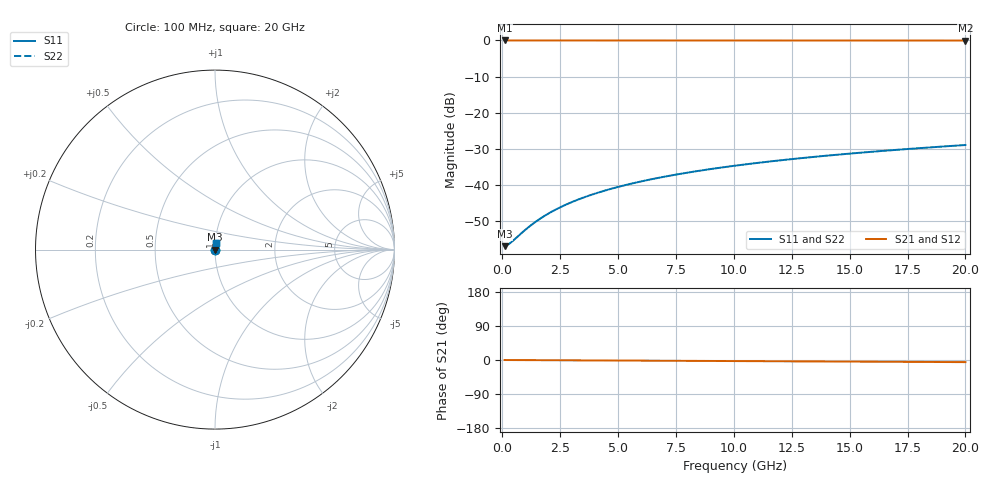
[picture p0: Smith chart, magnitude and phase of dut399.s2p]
! Touchstone file exported from HFSS 2026.1.0
!  File:  C:/ffzhzh/LocalFiles/Ansys_Project_Files/temp_train_TSV_399_1783020278_46388.aedt
!  Generated:  03:27:02 AM Jul  3, 2026
!  Design:  TSV
!  Project:  temp_train_TSV_399_1783020278_46388
! Variables:
!  h_bsmrdl = 2um
!  h_ox = 20um
!  h_rdl = 5um
!  h_sub = 54.93um
!  h_tmrdl = 5um
!  h_tsv = 54.93um
!  h_via = 3um
!  l_bsmrdl = 300um
!  l_sub = 404.24um
!  l_tmrdl = 200um
!  m_sub = 200um
!  pitch = 15.1um
!  r_tsv = 2.12um
!  s_tmrdl = 10um
!  w_bsmrdl = 18um
!  w_sub = 500um
!  w_tmrdl = 12um
!  x_tsv_center1 = 206um
!  x_tsv_center2 = 524um
!  x_tsv_center3 = 736um
!  x_tsv_center4 = 1054um
!  x_tsv_center5 = 1266um
!  x_tsv_center6 = 1584um
# GHz S MA R 50.000000
! Terminal data exported
! Port[1] = TSV1_1_T1
! Port[2] = TSV1_1_T2
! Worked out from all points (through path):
!   200 points, 100 MHz to 20 GHz, reference 50 ohm
!   highest |S21| = -0.01 dB at 100 MHz (marker M1); lowest = 0.0 dB at 20 GHz (marker M2)
!   lowest |S11| = -56.8 dB at 100 MHz (marker M3), VSWR 1.00, Z = 50.1 + j0.0199 ohm
!   |S11| at or under -10 dB: start of sweep to end of sweep
!   |S22| runs from -56.8 to -28.9 dB; largest |S21 - S12| = 2e-15
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0.1  0.001442 7.9  0.9986 -0.0  0.9986 -0.0  0.001442 7.9
! Gamma 0 0 0 0
! Port Impedance 50 0 50 0
0.2  0.001487 15.4  0.9986 -0.1  0.9986 -0.1  0.001487 15.4
0.3  0.001556 22.3  0.9986 -0.1  0.9986 -0.1  0.001556 22.3
0.4  0.001647 28.5  0.9986 -0.1  0.9986 -0.1  0.001647 28.5
0.9  0.002286 49.2  0.9985 -0.3  0.9985 -0.3  0.002286 49.2
1.2  0.002745 56.4  0.9985 -0.3  0.9985 -0.3  0.002745 56.4
1.5  0.003232 61.5  0.9985 -0.4  0.9985 -0.4  0.003232 61.5
1.8  0.003737 65.2  0.9985 -0.5  0.9985 -0.5  0.003737 65.2
2.2  0.00443 68.8  0.9984 -0.6  0.9984 -0.6  0.00443 68.8
2.6  0.005137 71.4  0.9984 -0.7  0.9984 -0.7  0.005137 71.4
3  0.005853 73.4  0.9984 -0.9  0.9984 -0.9  0.005853 73.4
3.5  0.006755 75.1  0.9984 -1.0  0.9984 -1.0  0.006755 75.1
4.2  0.008027 76.9  0.9983 -1.2  0.9983 -1.2  0.008027 76.9
5  0.009486 78.2  0.9982 -1.4  0.9982 -1.4  0.009486 78.2
5.9  0.01113 79.1  0.9982 -1.7  0.9982 -1.7  0.01113 79.1
6.8  0.01277 79.7  0.9981 -1.9  0.9981 -1.9  0.01277 79.7
8.3  0.01548 80.2  0.9979 -2.4  0.9979 -2.4  0.01548 80.2
10.1  0.01872 80.4  0.9976 -2.9  0.9976 -2.9  0.01872 80.4
11.7  0.02156 80.4  0.9974 -3.3  0.9974 -3.3  0.02156 80.4
13.4  0.02456 80.3  0.9972 -3.8  0.9972 -3.8  0.02456 80.3
16.7  0.0303 79.8  0.9966 -4.7  0.9966 -4.7  0.0303 79.8
20  0.03594 79.2  0.9961 -5.6  0.9961 -5.6  0.03594 79.2
